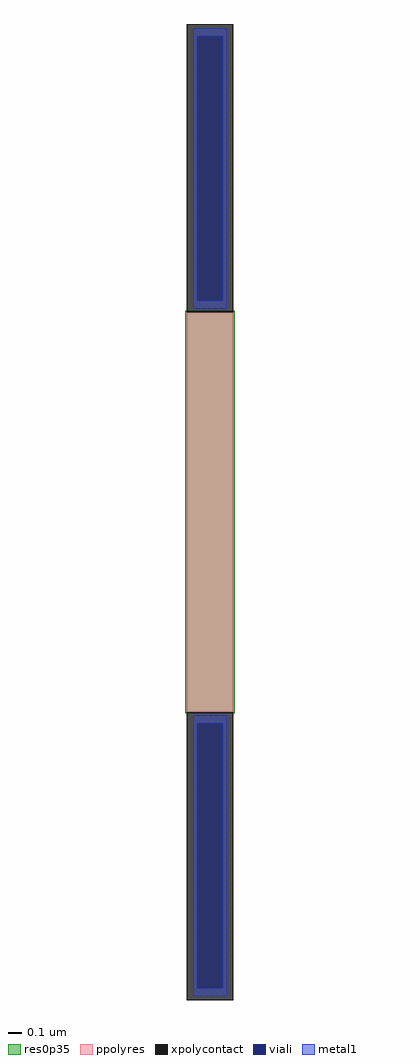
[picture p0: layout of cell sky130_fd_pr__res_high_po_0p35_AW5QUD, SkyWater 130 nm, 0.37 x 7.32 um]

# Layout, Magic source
magic
tech sky130A
magscale 1 2
<< xpolycontact >>
rect -35 300 35 732
rect -35 -732 35 -300
<< ppolyres >>
rect -35 -300 35 300
<< viali >>
rect -19 317 19 714
rect -19 -714 19 -317
<< metal1 >>
rect -25 714 25 726
rect -25 317 -19 714
rect 19 317 25 714
rect -25 305 25 317
rect -25 -317 25 -305
rect -25 -714 -19 -317
rect 19 -714 25 -317
rect -25 -726 25 -714
<< res0p35 >>
rect -37 -302 37 302
<< properties >>
string gencell sky130_fd_pr__res_high_po_0p35
string library sky130
string parameters w 0.350 l 3.0 m 1 nx 1 wmin 0.350 lmin 0.50 rho 319.8 val 3.854k dummy 0 dw 0.0 term 194.82 sterm 0.0 caplen 0 guard 0 glc 1 grc 1 gtc 1 gbc 1 compatible {sky130_fd_pr__res_high_po_0p35  sky130_fd_pr__res_high_po_0p69 sky130_fd_pr__res_high_po_1p41  sky130_fd_pr__res_high_po_2p85 sky130_fd_pr__res_high_po_5p73} snake 0 full_metal 1 wmax 0.350 vias 1 n_guard 0 hv_guard 0 viagb 0 viagt 0 viagl 0 viagr 0
<< end >>
